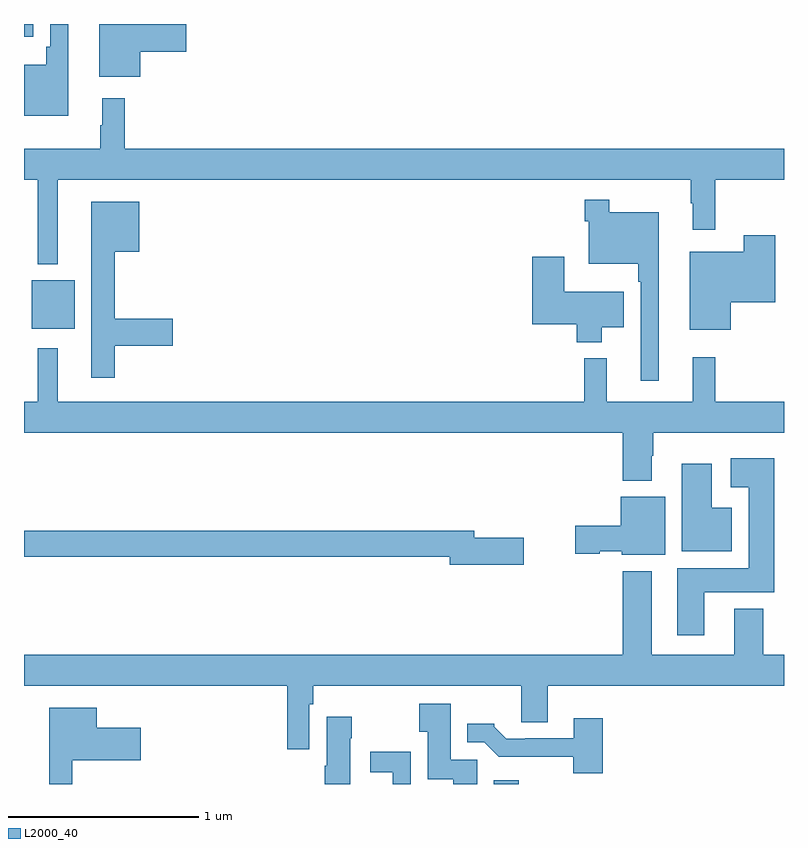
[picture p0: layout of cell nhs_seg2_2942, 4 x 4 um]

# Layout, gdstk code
import gdstk
lib = gdstk.Library(unit=1e-6, precision=1e-09)
def R(c, l, rs):  # rectangles x0, y0, x1, y1
    for r in rs: c.add(gdstk.rectangle(r[:2], r[2:], *l))
def P(c, l, *ps):  # polygons
    for p in ps: c.add(gdstk.Polygon(p, *l))
L2000_40 = (2000, 40)

nhs_seg2_2942 = lib.new_cell('nhs_seg2_2942')
R(nhs_seg2_2942, L2000_40, [(267.473,633.8,267.604,633.82), (265.04,636.197,265.267,636.451), (265,637.733,265.048,637.8)])
P(nhs_seg2_2942, L2000_40, [(265.234,637.8),(265.137,637.8),(265.137,637.681),(265.117,637.681),(265.117,637.585),(265,637.585),(265,637.316),(265.234,637.316)],
  [(265.612,637.655),(265.855,637.655),(265.855,637.8),(265.397,637.8),(265.397,637.523),(265.612,637.523)],
  [(265.177,636.98),(268.509,636.98),(268.509,636.857),(268.52,636.857),(268.52,636.717),(268.637,636.717),(268.637,636.98),(269,636.98),(269,637.144),(265.529,637.144),(265.529,637.408),(265.412,637.408),(265.412,637.268),(265.401,637.268),(265.401,637.144),(265,637.144),(265,636.98),(265.073,636.98),(265.073,636.536),(265.177,636.536)],
  [(268.342,636.808),(268.081,636.808),(268.081,636.874),(267.952,636.874),(267.952,636.761),(267.972,636.761),(267.972,636.539),(268.233,636.539),(268.233,636.443),(268.245,636.443),(268.245,635.922),(268.342,635.922)],
  [(265.477,636.106),(265.783,636.106),(265.783,636.248),(265.477,636.248),(265.477,636.602),(265.606,636.602),(265.606,636.865),(265.355,636.865),(265.355,635.937),(265.477,635.937)],
  [(268.72,636.335),(268.954,636.335),(268.954,636.688),(268.789,636.688),(268.789,636.601),(268.505,636.601),(268.505,636.191),(268.72,636.191)],
  [(268.042,636.203),(268.156,636.203),(268.156,636.391),(267.844,636.391),(267.844,636.574),(267.674,636.574),(267.674,636.221),(267.908,636.221),(267.908,636.125),(268.042,636.125)],
  [(268.303,635.528),(268.311,635.528),(268.311,635.648),(269,635.648),(269,635.812),(268.637,635.812),(268.637,636.046),(268.52,636.046),(268.52,635.812),(268.067,635.812),(268.067,636.04),(267.949,636.04),(267.949,635.812),(265.177,635.812),(265.177,636.094),(265.073,636.094),(265.073,635.812),(265,635.812),(265,635.648),(268.151,635.648),(268.151,635.396),(268.303,635.396)],
  [(268.579,634.808),(268.949,634.808),(268.949,635.515),(268.719,635.515),(268.719,635.363),(268.814,635.363),(268.814,634.936),(268.439,634.936),(268.439,634.584),(268.579,634.584)],
  [(268.726,635.254),(268.621,635.254),(268.621,635.485),(268.463,635.485),(268.463,635.024),(268.726,635.024)],
  [(268.375,635.311),(268.142,635.311),(268.142,635.159),(267.9,635.159),(267.9,635.012),(268.029,635.012),(268.029,635.024),(268.146,635.024),(268.146,635.006),(268.375,635.006)],
  [(267.631,635.096),(267.37,635.096),(267.37,635.132),(265,635.132),(265,634.996),(267.242,634.996),(267.242,634.954),(267.631,634.954)],
  [(266.502,634.22),(266.522,634.22),(266.522,634.316),(267.617,634.316),(267.617,634.126),(267.757,634.126),(267.757,634.316),(269,634.316),(269,634.48),(268.892,634.48),(268.892,634.723),(268.739,634.723),(268.739,634.48),(268.303,634.48),(268.303,634.921),(268.151,634.921),(268.151,634.48),(265,634.48),(265,634.316),(266.386,634.316),(266.386,633.984),(266.502,633.984)],
  [(267.385,633.927),(267.247,633.927),(267.247,634.222),(267.079,634.222),(267.079,634.075),(267.125,634.075),(267.125,633.824),(267.26,633.824),(267.26,633.8),(267.385,633.8)],
  [(265.255,633.926),(265.615,633.926),(265.615,634.096),(265.384,634.096),(265.384,634.201),(265.133,634.201),(265.133,633.8),(265.255,633.8)],
  [(266.716,634.04),(266.724,634.04),(266.724,634.153),(266.594,634.153),(266.594,633.896),(266.582,633.896),(266.582,633.8),(266.716,633.8)],
  [(268.046,634.147),(267.893,634.147),(267.893,634.041),(267.637,634.041),(267.637,634.038),(267.538,634.038),(267.474,634.102),(267.474,634.117),(267.332,634.117),(267.332,634.02),(267.423,634.02),(267.499,633.944),(267.891,633.944),(267.891,633.857),(268.046,633.857)],
  [(267.036,633.97),(266.823,633.97),(266.823,633.861),(266.94,633.861),(266.94,633.8),(267.036,633.8)])

lib.write_gds('nhs_seg2_2942.gds')
